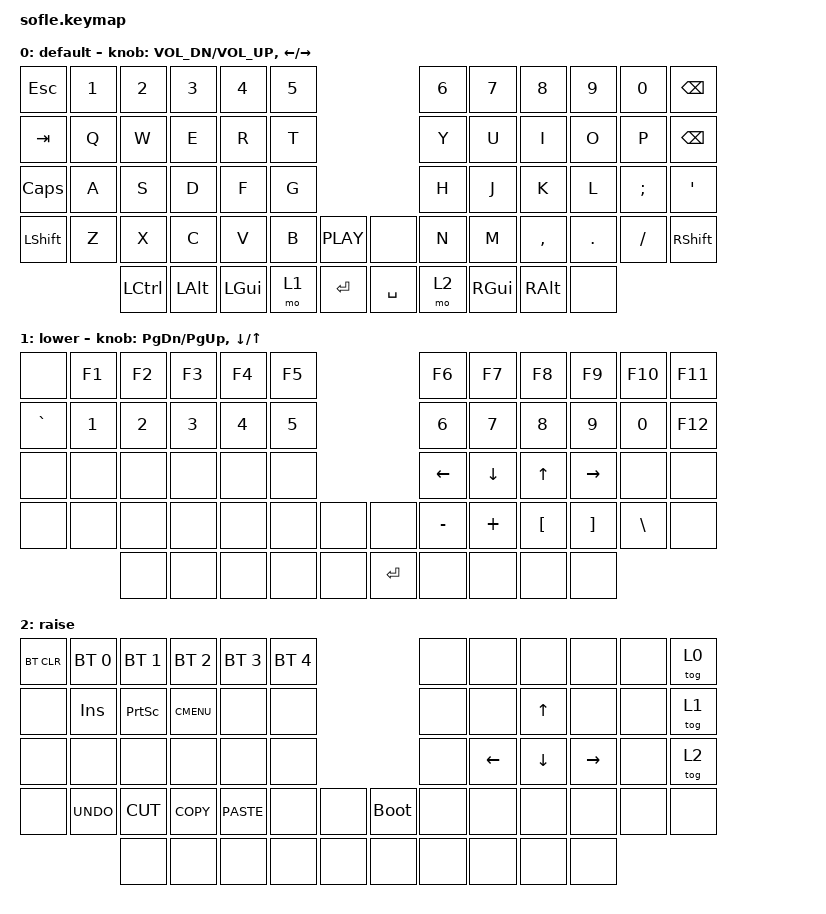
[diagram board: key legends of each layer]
/*
 * Copyright (c) 2020 The ZMK Contributors
 *
 * SPDX-License-Identifier: MIT
 */

#include <behaviors.dtsi>
#include <dt-bindings/zmk/bt.h>
#include <dt-bindings/zmk/keys.h>

#define BASE 0
#define LOWER 1
#define RAISE 2
#define ADJUST 3

/ {
    conditional_layers { compatible = "zmk,conditional-layers"; };

    combos {
        compatible = "zmk,combos";

        toggle-lower {
            bindings = <&tog 1>;
            key-positions = <36 53>;
            timeout-ms = <50>;
            layers = <0 1 2>;
        };

        toggle-raise {
            bindings = <&tog 2>;
            key-positions = <36 56>;
            timeout-ms = <50>;
            layers = <0 1 2>;
        };

        to-1 {
            bindings = <&to 1>;
            key-positions = <53 49>;
            timeout-ms = <50>;
            layers = <0 1 2>;
        };

        to-2 {
            bindings = <&to 2>;
            key-positions = <56 49>;
            timeout-ms = <50>;
            layers = <0 1 2>;
        };
    };

    keymap {
        compatible = "zmk,keymap";

        default_layer {
            display-name = "default";
            bindings = <
&kp ESC    &kp N1  &kp N2            &kp N3    &kp N4    &kp N5                           &kp N6  &kp N7    &kp N8     &kp N9   &kp N0    &kp BACKSPACE
&kp TAB    &kp Q   &kp W             &kp E     &kp R     &kp T                            &kp Y   &kp U     &kp I      &kp O    &kp P     &kp BACKSPACE
&kp CAPS   &kp A   &kp S             &kp D     &kp F     &kp G                            &kp H   &kp J     &kp K      &kp L    &kp SEMI  &kp SQT
&kp LSHFT  &kp Z   &kp X             &kp C     &kp V     &kp B   &kp C_PLAY    &none      &kp N   &kp M     &kp COMMA  &kp DOT  &kp FSLH  &kp RSHFT
                   &kp LEFT_CONTROL  &kp LALT  &kp LGUI  &mo 1   &kp RET       &kp SPACE  &mo 2   &kp RGUI  &kp RALT   &none
            >;

            sensor-bindings =
                <&inc_dec_kp C_VOL_DN C_VOL_UP>,
                <&inc_dec_kp LEFT RIGHT>;
        };

        lower_layer {
            display-name = "lower";
            bindings = <
&none      &kp F1  &kp F2  &kp F3  &kp F4  &kp F5                      &kp F6     &kp F7    &kp F8            &kp F9             &kp F10   &kp F11
&kp GRAVE  &kp N1  &kp N2  &kp N3  &kp N4  &kp N5                      &kp N6     &kp N7    &kp N8            &kp N9             &kp N0    &kp F12
&none      &none   &none   &none   &none   &none                       &kp LEFT   &kp DOWN  &kp UP            &kp RIGHT          &none     &none
&none      &none   &none   &none   &none   &none   &none    &none      &kp MINUS  &kp PLUS  &kp LEFT_BRACKET  &kp RIGHT_BRACKET  &kp BSLH  &none
                   &none   &none   &none   &none   &none    &kp ENTER  &none      &none     &none             &none
            >;

            sensor-bindings =
                <&inc_dec_kp PAGE_DOWN PAGE_UP>,
                <&inc_dec_kp DOWN UP>;
        };

        raise_layer {
            display-name = "raise";
            bindings = <
&bt BT_CLR  &bt BT_SEL 0  &bt BT_SEL 1  &bt BT_SEL 2  &bt BT_SEL 3  &bt BT_SEL 4                        &none  &none     &none     &none      &none  &tog 0
&none       &kp INS       &kp PSCRN     &kp K_CMENU   &none         &none                               &none  &none     &kp UP    &none      &none  &tog 1
&none       &none         &none         &none         &none         &none                               &none  &kp LEFT  &kp DOWN  &kp RIGHT  &none  &tog 2
&none       &kp K_UNDO    &kp K_CUT     &kp K_COPY    &kp K_PASTE   &none         &none    &bootloader  &none  &none     &none     &none      &none  &none
                          &none         &none         &none         &none         &none    &none        &none  &none     &none     &none
            >;
        };
    };
};
